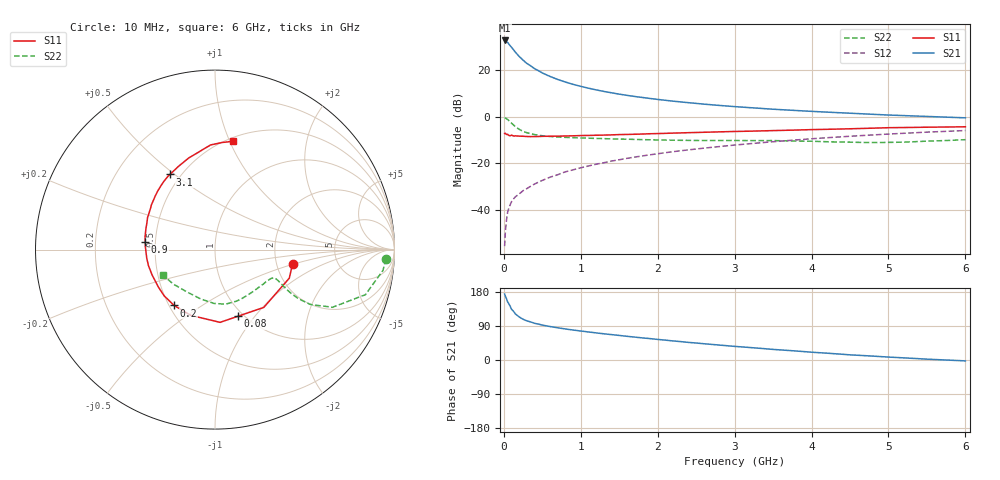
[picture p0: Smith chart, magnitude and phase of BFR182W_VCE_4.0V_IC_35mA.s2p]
! Infineon Technologies  Discrete & RF Semiconductors
! BFR182W
! VCE =  4.0 V,  IC =  35 mA
! Common Emitter S-Parameters:  Jan 2017
# GHz  S  MA  R  50
!  f  S11  S21  S12  S22
! GHz  MAG  ANG  MAG  ANG  MAG  ANG  MAG  ANG
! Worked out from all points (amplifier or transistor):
!   77 points, 10 MHz to 6 GHz, reference 50 ohm
!   highest |S21| = 32.7 dB at 10 MHz (marker M1)
!   |S21| within 3 dB of that: start of sweep to 102.4 MHz
!   unconditionally stable (mu >= 1): 507.9 MHz to 2.226 GHz
!   at 130 MHz: K = 0.55, MSG = 31.8 dB, |S12| = -35.0 dB
!   at 2.2 GHz: K = 1.00, MAG = 10.5 dB, |S12| = -14.9 dB
!   at 6 GHz: K = 0.87, MSG = 2.7 dB, |S12| = -5.9 dB
!   S11 on the Smith chart (normalised r, x): 10 MHz: 2.45, -0.49; 80 MHz: 0.94, -0.82; 200 MHz: 0.53, -0.39; 900 MHz: 0.44, +0.05; 3.1 GHz: 0.44, +0.48; 6 GHz: 0.53, +1.03
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0.01  0.4394 -10.6  43.01 174.0  0.0017 82.8  0.9541 -3.1
0.02  0.4435 -21.0  42.87 168.7  0.0035 95.9  0.9429 -7.1
0.05  0.4215 -49.8  38.81 153.1  0.0092 73.2  0.8749 -16.7
0.08  0.3927 -71.3  33.53 142.7  0.0128 69.5  0.7843 -22.0
0.1  0.4063 -86.0  30.79 133.9  0.0152 68.0  0.7284 -26.2
0.15  0.3904 -110.2  24.16 121.7  0.0194 63.9  0.6127 -29.9
0.2  0.3856 -126.2  19.52 113.5  0.0223 64.1  0.5379 -30.5
0.25  0.3829 -137.7  16.27 107.5  0.0262 64.7  0.4891 -29.9
0.3  0.3783 -146.2  13.85 103.2  0.0291 65.8  0.4547 -29.0
0.4  0.3778 -157.7  10.71 96.8  0.0364 69.0  0.4151 -27.3
0.5  0.3814 -166.4  8.669 92.2  0.0435 70.0  0.3925 -26.2
0.6  0.3833 -173.0  7.305 88.3  0.0509 71.1  0.3787 -25.7
0.7  0.3847 -178.0  6.298 85.0  0.0575 72.9  0.3693 -25.5
0.9  0.3913 173.4  4.943 79.1  0.0731 73.3  0.3564 -26.5
1.1  0.3988 166.1  4.091 74.0  0.0885 73.5  0.348 -28.2
1.3  0.4054 160.0  3.488 69.2  0.1039 73.1  0.3406 -30.6
1.5  0.4158 154.7  3.052 64.8  0.1203 72.5  0.3333 -33.7
2.1  0.4418 140.3  2.255 52.4  0.1703 69.3  0.3169 -45.7
3.1  0.4882 120.9  1.608 34.5  0.2567 61.6  0.3098 -69.7
4.1  0.5349 104.5  1.282 19.3  0.347 52.4  0.2958 -93.8
5.1  0.586 91.1  1.075 6.7  0.4348 41.8  0.2845 -126.9
6  0.611 80.7  0.949 -2.4  0.5076 31.9  0.3236 -154.1
